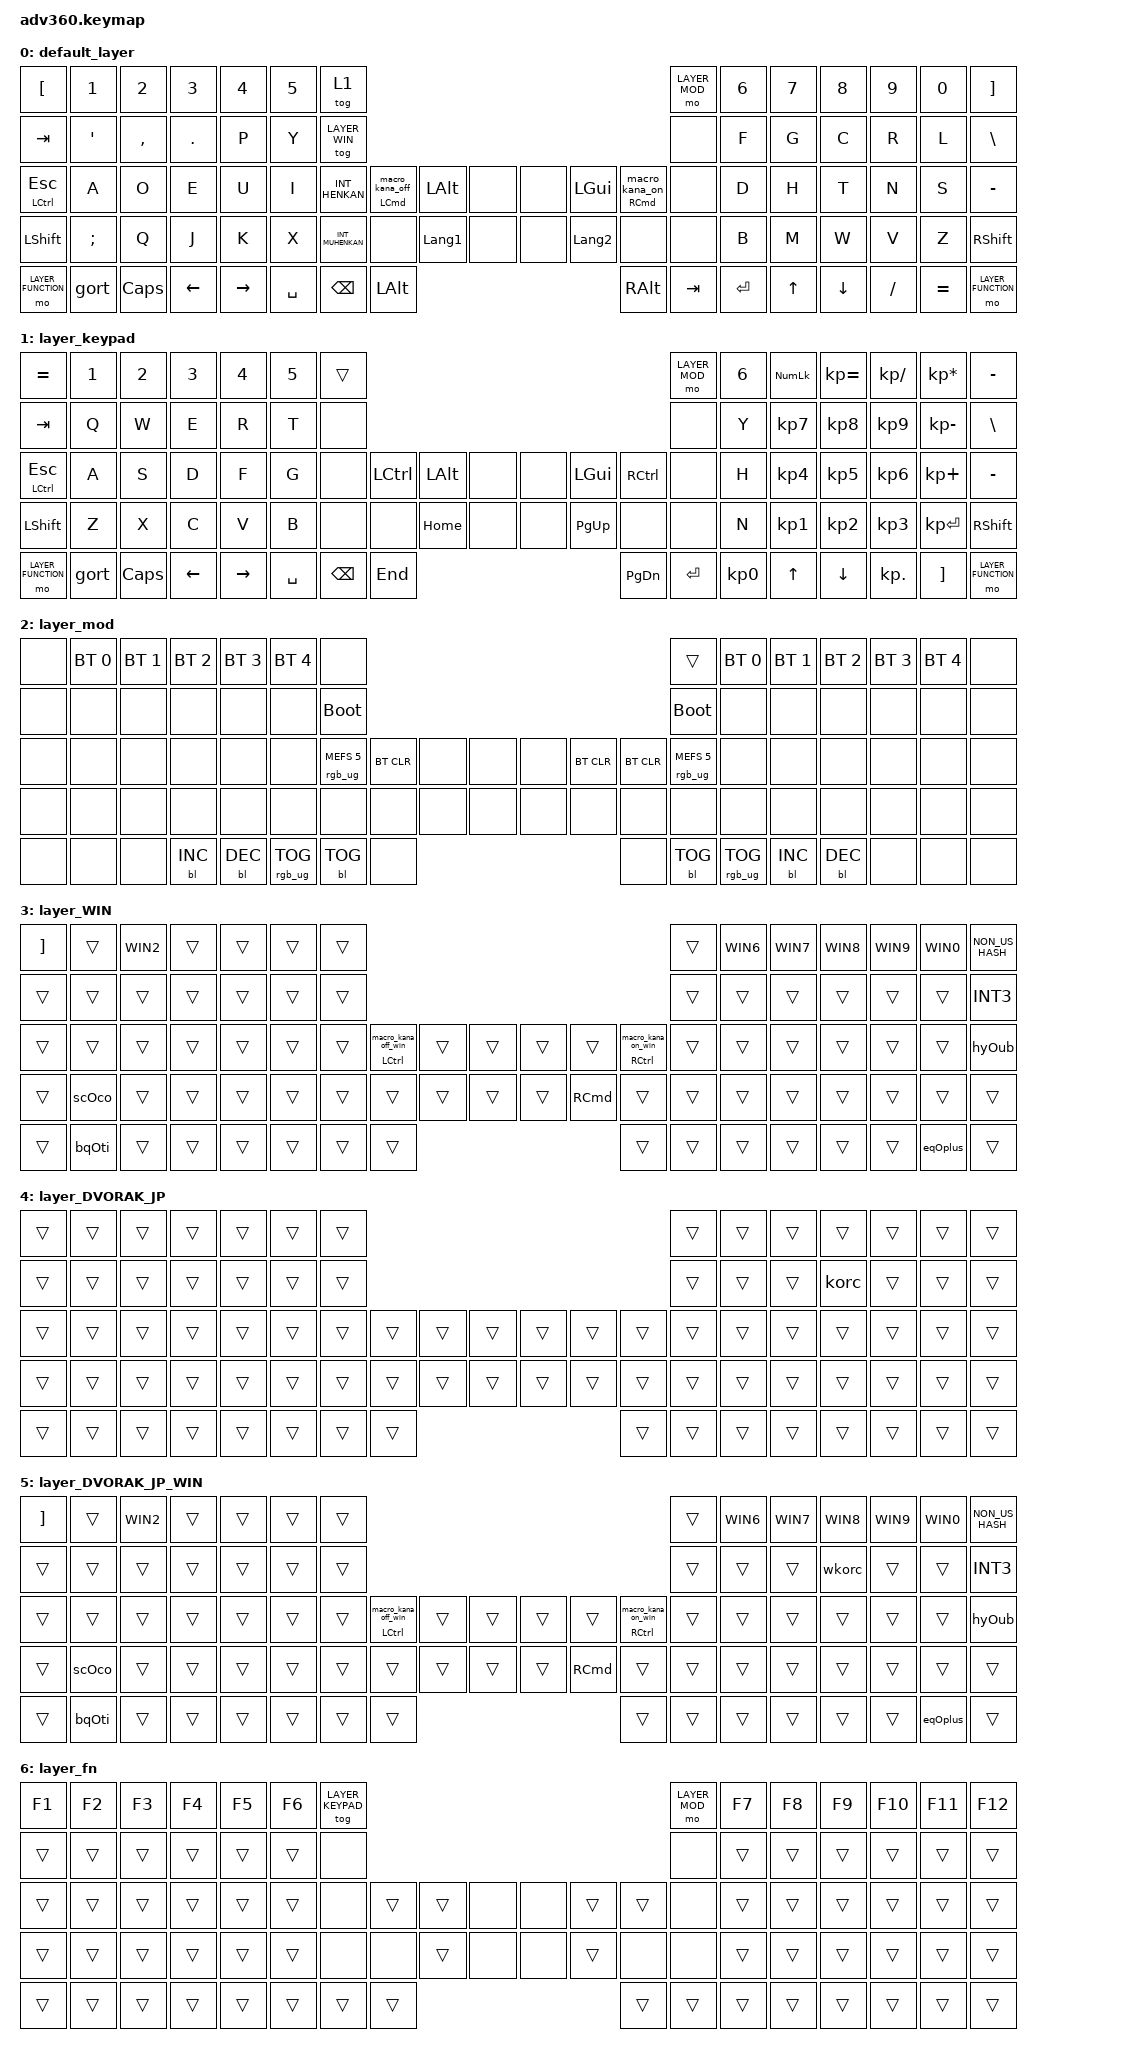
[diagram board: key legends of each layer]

/*
 * Copyright (c) 2020 The ZMK Contributors
 *
 * SPDX-License-Identifier: MIT
 */


/* THIS FILE WAS GENERATED!
 *
 * This file was generated automatically. You may or may not want to
 * edit it directly.
 */

#include <behaviors.dtsi>
#include <dt-bindings/zmk/keys.h>
#include <dt-bindings/zmk/bt.h>
#include <dt-bindings/zmk/rgb.h>
#include <dt-bindings/zmk/backlight.h>

#define LAYER_DEFAULT 0
#define LAYER_KEYPAD 1
#define LAYER_MOD 2
#define LAYER_WIN 3
#define LAYER_DVORAK_JP 4
#define LAYER_DVORAK_JP_WIN 5
#define LAYER_FUNCTION 6

#define BEHAVIOR_MOD_MORPH(NAME, LABEL, BIND1, BIND2, MODS) \
    NAME: NAME { \
        compatible = "zmk,behavior-mod-morph"; \
        label = LABEL; \
        #binding-cells = <0>; \
        bindings = <BIND1>, <BIND2>; \
        mods = <MODS>; \
    };

/ {
  behaviors {
    #include "macros.dtsi"

    hm: homerow_mods {
        compatible = "zmk,behavior-hold-tap";
        label = "HOMEROW_MODS";
        #binding-cells = <2>;
        tapping-term-ms = <200>;
        quick_tap_ms = <175>;
        flavor = "tap-preferred";
        bindings = <&kp>, <&kp>;
    };
    htkon: hold_tap_kana_on {
        compatible = "zmk,behavior-hold-tap";
        label = "HOLD_TAP_KANA_ON";
        #binding-cells = <2>;
        tapping-term-ms = <200>;
        flavor = "hold-preferred";
        bindings = <&kp>, <&macro_kana_on>;
    };
    htkoff: hold_tap_kana_off {
        compatible = "zmk,behavior-hold-tap";
        label = "HOLD_TAP_KANA_OFF";
        #binding-cells = <2>;
        tapping-term-ms = <200>;
        flavor = "hold-preferred";
        bindings = <&kp>, <&macro_kana_off>;
    };
    whtkon: win_hold_tap_kana_on {
        compatible = "zmk,behavior-hold-tap";
        label = "WIN_HOLD_TAP_KANA_ON";
        #binding-cells = <2>;
        tapping-term-ms = <200>;
        flavor = "hold-preferred";
        bindings = <&kp>, <&macro_kana_on_win>;
    };
    whtkoff: win_hold_tap_kana_off {
        compatible = "zmk,behavior-hold-tap";
        label = "WIN_HOLD_TAP_KANA_OFF";
        #binding-cells = <2>;
        tapping-term-ms = <200>;
        flavor = "hold-preferred";
        bindings = <&kp>, <&macro_kana_off_win>;
    };
    BEHAVIOR_MOD_MORPH(korc, "K_OR_C", &kp K, &kp LG(C), (MOD_LGUI | MOD_RGUI))
    BEHAVIOR_MOD_MORPH(wkorc, "WIN_K_OR_C", &kp K, &kp LC(C), (MOD_LCTL | MOD_RCTL))
    BEHAVIOR_MOD_MORPH(gort, "GRAVE_OR_TILDE", &kp GRAVE, &kp TILDE, (MOD_LSFT | MOD_RSFT))
    BEHAVIOR_MOD_MORPH(WIN2, "WIN2", &kp N2, &kp LEFT_BRACKET, (MOD_LSFT | MOD_RSFT))
    BEHAVIOR_MOD_MORPH(WIN6, "WIN6", &kp N6, &kp EQUAL, (MOD_LSFT | MOD_RSFT))
    BEHAVIOR_MOD_MORPH(WIN7, "WIN7", &kp N7, &kp LS(N6), (MOD_LSFT | MOD_RSFT))
    BEHAVIOR_MOD_MORPH(WIN8, "WIN8", &kp N8, &kp LS(SINGLE_QUOTE), (MOD_LSFT | MOD_RSFT))
    BEHAVIOR_MOD_MORPH(WIN9, "WIN9", &kp N9, &kp LS(N8), (MOD_LSFT | MOD_RSFT))
    BEHAVIOR_MOD_MORPH(WIN0, "WIN0", &kp N0, &kp LS(N9), (MOD_LSFT | MOD_RSFT))
    BEHAVIOR_MOD_MORPH(hyOub, "HYPHEN_OR_UNDERBAR", &kp MINUS, &kp LS(INTERNATIONAL_1), (MOD_LSFT | MOD_RSFT))
    BEHAVIOR_MOD_MORPH(eqOplus, "EQ_OR_PLUS", &kp LS(MINUS), &kp LS(SEMICOLON), (MOD_LSFT | MOD_RSFT))
    BEHAVIOR_MOD_MORPH(bqOti, "BACK_QUOTE_OR_TILDE", &kp LS(LEFT_BRACKET), &kp LS(EQUAL), (MOD_LSFT | MOD_RSFT))
    BEHAVIOR_MOD_MORPH(scOco, "SEMICOLONE_OR_COLONE", &kp SEMICOLON, &kp SINGLE_QUOTE, (MOD_LSFT | MOD_RSFT))
  };

    keymap {
        compatible = "zmk,keymap";

        default_layer {
            bindings = <
      &kp LBKT     &kp N1       &kp N2    &kp N3     &kp N4  &kp N5               &tog 1                                                                                       &mo LAYER_MOD     &kp N6    &kp N7      &kp N8      &kp N9       &kp N0   &kp RBKT
       &kp TAB    &kp SQT    &kp COMMA   &kp DOT      &kp P   &kp Y               &tog LAYER_WIN                                                                                 &none     &kp F     &kp G       &kp C       &kp R        &kp L    &kp BSLH
 &mt LCTRL ESC      &kp A        &kp O     &kp E      &kp U   &kp I               &kp INT_HENKAN   &htkoff LCMD 0        &kp LALT   &none   &none        &kp LGUI   &htkon RCMD 0      &none     &kp D     &kp H       &kp T       &kp N        &kp S    &kp MINUS
     &kp LSHFT   &kp SEMI        &kp Q     &kp J      &kp K   &kp X               &kp INT_MUHENKAN          &none  &kp LANGUAGE_1   &none   &none  &kp LANGUAGE_2           &none      &none     &kp B     &kp M       &kp W       &kp V        &kp Z    &kp RSHFT
 &mo LAYER_FUNCTION       &gort     &kp CAPS  &kp LEFT  &kp RIGHT                       &kp SPACE              &kp BSPC    &kp LEFT_ALT                   &kp RIGHT_ALT         &kp TAB  &kp ENTER    &kp UP  &kp DOWN    &kp FSLH   &kp EQUAL        &mo LAYER_FUNCTION
            >;
        };

        layer_keypad {
            bindings = <
    &kp EQUAL      &kp N1    &kp N2    &kp N3     &kp N4  &kp N5              &trans                                                                     &mo LAYER_MOD   &kp N6  &kp KP_NUM  &kp KP_EQUAL  &kp KP_DIVIDE  &kp KP_MULTIPLY  &kp MINUS
      &kp TAB      &kp Q     &kp W     &kp E      &kp R   &kp T               &none                                                                      &none           &kp Y   &kp KP_N7   &kp KP_N8     &kp KP_N9      &kp KP_MINUS     &kp BSLH
&mt LCTRL ESC      &kp A     &kp S     &kp D      &kp F   &kp G               &none      &kp LCTRL  &kp LALT   &none   &none   &kp LGUI   &kp RCTRL      &none           &kp H   &kp KP_N4   &kp KP_N5     &kp KP_N6      &kp KP_PLUS      &kp MINUS
    &kp LSHFT      &kp Z     &kp X     &kp C      &kp V   &kp B               &none      &none      &kp HOME   &none   &none   &kp PG_UP      &none      &none           &kp N   &kp KP_N1   &kp KP_N2     &kp KP_N3      &kp KP_ENTER     &kp RSHFT
 &mo LAYER_FUNCTION      &gort     &kp CAPS  &kp LEFT   &kp RIGHT                   &kp SPACE  &kp BSPC   &kp END                    &kp PG_DN  &kp ENTER      &kp KP_N0       &kp UP  &kp DOWN    &kp KP_DOT    &kp RBKT       &mo LAYER_FUNCTION
            >;
        };

        layer_mod {
            bindings = <
  &none  &bt BT_SEL 0  &bt BT_SEL 1  &bt BT_SEL 2  &bt BT_SEL 3  &bt BT_SEL 4                             &none                                                                              &trans  &bt BT_SEL 0  &bt BT_SEL 1  &bt BT_SEL 2  &bt BT_SEL 3  &bt BT_SEL 4   &none
  &none         &none         &none         &none         &none         &none                       &bootloader                                                                         &bootloader         &none         &none         &none         &none         &none   &none
  &none         &none         &none         &none         &none         &none            &rgb_ug RGB_MEFS_CMD 5  &bt BT_CLR   &none   &none   &none  &bt BT_CLR  &bt BT_CLR  &rgb_ug RGB_MEFS_CMD 5         &none         &none         &none         &none         &none   &none
  &none         &none         &none         &none         &none         &none                             &none       &none   &none   &none   &none       &none       &none                   &none         &none         &none         &none         &none         &none   &none
  &none         &none         &none    &bl BL_INC    &bl BL_DEC                                 &rgb_ug RGB_TOG  &bl BL_TOG   &none                       &none  &bl BL_TOG         &rgb_ug RGB_TOG                  &bl BL_INC    &bl BL_DEC         &none         &none   &none
            >;
        };

        layer_WIN {
            bindings = <
 &kp RIGHT_BRACKET  &trans  &WIN2   &trans  &trans  &trans            &trans                                                                       &trans  &WIN6   &WIN7   &WIN8   &WIN9   &WIN0     &kp NON_US_HASH
 &trans             &trans  &trans  &trans  &trans  &trans            &trans                                                                       &trans  &trans  &trans  &trans  &trans  &trans    &kp INT3
 &trans             &trans  &trans  &trans  &trans  &trans            &trans  &whtkoff LCTRL 0  &trans  &trans  &trans  &trans    &whtkon RCTRL 0  &trans  &trans  &trans  &trans  &trans  &trans    &hyOub
 &trans             &scOco  &trans  &trans  &trans  &trans            &trans           &trans   &trans  &trans  &trans  &kp RCMD           &trans  &trans  &trans  &trans  &trans  &trans  &trans    &trans
 &trans             &bqOti  &trans  &trans  &trans                    &trans           &trans   &trans                  &trans             &trans  &trans          &trans  &trans  &trans  &eqOplus  &trans
            >;
        };

        layer_DVORAK_JP {
            bindings = <
    &trans  &trans  &trans  &trans  &trans  &trans            &trans                                                  &trans  &trans  &trans  &trans  &trans  &trans  &trans
    &trans  &trans  &trans  &trans  &trans  &trans            &trans                                                  &trans  &trans  &trans   &korc  &trans  &trans  &trans
    &trans  &trans  &trans  &trans  &trans  &trans            &trans  &trans  &trans  &trans  &trans  &trans  &trans  &trans  &trans  &trans  &trans  &trans  &trans  &trans
    &trans  &trans  &trans  &trans  &trans  &trans            &trans  &trans  &trans  &trans  &trans  &trans  &trans  &trans  &trans  &trans  &trans  &trans  &trans  &trans
    &trans  &trans  &trans  &trans  &trans                    &trans  &trans  &trans                  &trans  &trans  &trans          &trans  &trans  &trans  &trans  &trans
            >;
        };

        layer_DVORAK_JP_WIN {
            bindings = <
  &kp RIGHT_BRACKET  &trans  &WIN2  &trans  &trans  &trans             &trans                                                                        &trans  &WIN6   &WIN7   &WIN8   &WIN9   &WIN0     &kp NON_US_HASH
  &trans             &trans  &trans  &trans  &trans  &trans            &trans                                                                        &trans  &trans  &trans  &wkorc  &trans  &trans    &kp INT3
  &trans             &trans  &trans  &trans  &trans  &trans            &trans  &whtkoff LCTRL 0  &trans  &trans  &trans  &trans     &whtkon RCTRL 0  &trans  &trans  &trans  &trans  &trans  &trans    &hyOub
  &trans             &scOco  &trans  &trans  &trans  &trans            &trans            &trans  &trans  &trans  &trans  &kp RCMD            &trans  &trans  &trans  &trans  &trans  &trans  &trans    &trans
  &trans             &bqOti  &trans  &trans  &trans                    &trans            &trans  &trans                  &trans              &trans  &trans          &trans  &trans  &trans  &eqOplus  &trans
             >;
        };

        layer_fn {
            bindings = <
 &kp F1  &kp F2  &kp F3  &kp F4  &kp F5  &kp F6            &tog LAYER_KEYPAD                                        &mo LAYER_MOD  &kp F7  &kp F8  &kp F9  &kp F10  &kp F11  &kp F12
 &trans  &trans  &trans  &trans  &trans  &trans             &none                                                   &none          &trans  &trans  &trans  &trans   &trans   &trans
 &trans  &trans  &trans  &trans  &trans  &trans             &none  &trans  &trans   &none   &none  &trans  &trans   &none          &trans  &trans  &trans  &trans   &trans   &trans
 &trans  &trans  &trans  &trans  &trans  &trans             &none   &none  &trans   &none   &none  &trans   &none   &none          &trans  &trans  &trans  &trans   &trans   &trans
 &trans  &trans  &trans  &trans  &trans                    &trans  &trans  &trans                  &trans  &trans  &trans          &trans  &trans  &trans  &trans   &trans
            >;
        };
    };
};
